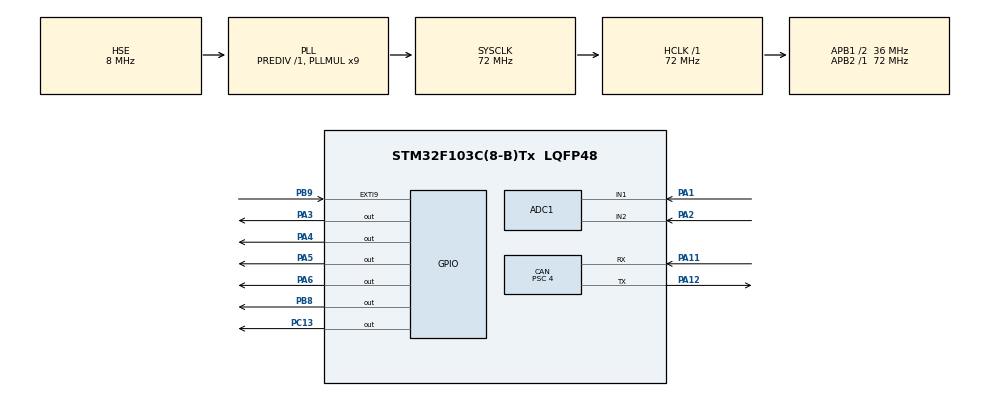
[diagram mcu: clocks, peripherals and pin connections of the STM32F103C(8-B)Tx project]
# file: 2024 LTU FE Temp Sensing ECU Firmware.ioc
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ADC1.Channel-1\#ChannelRegularConversion=ADC_CHANNEL_1
ADC1.Channel-2\#ChannelRegularConversion=ADC_CHANNEL_2
ADC1.NbrOfConversion=2
ADC1.NbrOfConversionFlag=1
ADC1.Rank-1\#ChannelRegularConversion=1
ADC1.Rank-2\#ChannelRegularConversion=2
ADC1.SamplingTime-1\#ChannelRegularConversion=ADC_SAMPLETIME_55CYCLES_5
ADC1.SamplingTime-2\#ChannelRegularConversion=ADC_SAMPLETIME_55CYCLES_5
ADC1.master=1
CAN.BS1=CAN_BS1_15TQ
CAN.BS2=CAN_BS2_2TQ
CAN.CalculateBaudRate=500000
CAN.CalculateTimeBit=2000
CAN.CalculateTimeQuantum=111.11111111111111
CAN.Prescaler=4
IWDG.Reload=400
Mcu.Family=STM32F1
Mcu.Name=STM32F103C(8-B)Tx
Mcu.Package=LQFP48
NVIC.CAN1_RX1_IRQn=true\:0\:0\:false\:false\:true\:true\:true\:true
NVIC.EXTI9_5_IRQn=true\:2\:0\:true\:false\:true\:true\:true\:true
NVIC.PriorityGroup=NVIC_PRIORITYGROUP_4
NVIC.USB_LP_CAN1_RX0_IRQn=true\:1\:0\:true\:false\:true\:true\:true\:true
PA1.Signal=ADCx_IN1
PA11.Mode=CAN_Activate
PA11.Signal=CAN_RX
PA12.Mode=CAN_Activate
PA12.Signal=CAN_TX
PA13.Mode=Serial_Wire
PA13.Signal=SYS_JTMS-SWDIO
PA14.Mode=Serial_Wire
PA14.Signal=SYS_JTCK-SWCLK
PA2.Signal=ADCx_IN2
PA3.Signal=GPIO_Output
PA4.Signal=GPIO_Output
PA5.Signal=GPIO_Output
PA6.Signal=GPIO_Output
PB8.Signal=GPIO_Output
PB9.Signal=GPXTI9
PC13-TAMPER-RTC.Signal=GPIO_Output
PC14-OSC32_IN.Mode=LSE-External-Clock-Source
PC14-OSC32_IN.Signal=RCC_OSC32_IN
PC15-OSC32_OUT.Mode=LSE-External-Clock-Source
PC15-OSC32_OUT.Signal=RCC_OSC32_OUT
PD0-OSC_IN.Mode=HSE-External-Oscillator
PD0-OSC_IN.Signal=RCC_OSC_IN
PD1-OSC_OUT.Mode=HSE-External-Oscillator
PD1-OSC_OUT.Signal=RCC_OSC_OUT
ProjectManager.HeapSize=0x200
ProjectManager.StackSize=0x400
ProjectManager.TargetToolchain=STM32CubeIDE
RCC.ADCPresc=RCC_ADCPCLK2_DIV6
RCC.AHBFreq_Value=72000000
RCC.APB1CLKDivider=RCC_HCLK_DIV2
RCC.APB1Freq_Value=36000000
RCC.APB1TimFreq_Value=72000000
RCC.APB2Freq_Value=72000000
RCC.APB2TimFreq_Value=72000000
RCC.HCLKFreq_Value=72000000
RCC.PLLMUL=RCC_PLL_MUL9
RCC.PLLSourceVirtual=RCC_PLLSOURCE_HSE
RCC.SYSCLKFreq_VALUE=72000000
RCC.SYSCLKSource=RCC_SYSCLKSOURCE_PLLCLK
RCC.USBFreq_Value=72000000
SH.ADCx_IN1.0=ADC1_IN1,IN1
SH.ADCx_IN2.0=ADC1_IN2,IN2
VP_IWDG_VS_IWDG.Mode=IWDG_Activate
board=custom

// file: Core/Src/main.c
/* USER CODE BEGIN Header */
/**
  ******************************************************************************
  * @file           : main.c
  * @brief          : Main program body
  ******************************************************************************
  * @attention
  *
  * Copyright (c) 2024 STMicroelectronics.
  * All rights reserved.
  *
  * This software is licensed under terms that can be found in the LICENSE file
  * in the root directory of this software component.
  * If no LICENSE file comes with this software, it is provided AS-IS.
  *
  ******************************************************************************
  */
/* USER CODE END Header */
#include "main.h"

/* USER CODE BEGIN Includes */

#include "math.h"
#include "temp.h"
#include "CAN.h"

/* USER CODE END Includes */

/* USER CODE BEGIN PTD */

typedef enum
{
	DISCHARGE_STATE = 1,
	CHARGING_STATE = 2

} ECU_StateType;

// Define boolean variable
typedef enum
{
	true = 1,
	false = 0

} bool;

ECU_StateType ecuState;

/* USER CODE END PTD */

/* USER CODE BEGIN PD */
#define SEGMENT_ID (0x03U)

#define DISCHARGE_TEMP_MAX_LIMIT 60
#define DISCHARGE_TEMP_MIN_LIMIT -20
#define CHARGE_TEMP_MAX_LIMIT 45
#define CHARGE_TEMP_MIN_LIMIT 0
#define ERROR_THRESHOLD 120

#define OPEN_CIRCUIT_THRESHOLD -4000
#define SHORT_TO_GROUND_THRESHOLD 14000

#define CELL_COUNT 24

#define SYNC_TIME_SHIFT_ECU1 25
#define SYNC_TIME_SHIFT_ECU2 50
#define SYNC_TIME_SHIFT_ECU3 75
#define SYNC_TIME_SHIFT_ECU4 100
#define SYNC_TIME_SHIFT_ECU5 125

/* USER CODE END PD */

ADC_HandleTypeDef hadc1;

CAN_HandleTypeDef hcan;

IWDG_HandleTypeDef hiwdg;

/* USER CODE BEGIN PV */

// Temp Sense RCU Fault
const uint16_t FAULT_IN_PIN = GPIO_PIN_9;
const uint16_t FAULT_OUT_PIN = GPIO_PIN_8;
GPIO_TypeDef* FAULT_PIN_PORT = GPIOB;

// Watchdog
const uint16_t WATCHDOG_LED_PIN = GPIO_PIN_13;
GPIO_TypeDef* WATCHDOG_LED_PIN_PORT = GPIOC;

// Temperature Collection and Processing
int highestTemp = DISCHARGE_TEMP_MIN_LIMIT, lowestTemp = DISCHARGE_TEMP_MAX_LIMIT, tempArray[24] = { 0 };
int counterCH1 = 0, counterCH2 = 12, faultCounter = 0;
int cellTempSum = 0, averageSegmentTemp;
unsigned int highestTempCellCount = 0;

// CAN RX headers
CAN_RxHeaderTypeDef rxHeaderFIFO0;
uint8_t dataFIFO0[8] = { (0x00U) };
TS_ECU_SYNC_RX1_t diagnosticSync_t;
TS_ECU_SYNC_RX2_t temperatureSync_t;
TS_ECU_ChargingStateTrigger_t stateTrigger_t;

// CAN TX header
TS_ECU1_TX1_t tx1_t;
volatile bool msgPendingFlag = false;

// Timing Variables
unsigned int currentChargingTriggerTime = 0, syncOneTime = 0, syncTwoTime = 0;

// Charging State
bool chargingTriggerFlag = false;

// Sync
bool syncOneFlag = false;
bool syncTwoFlag = false;

/* USER CODE END PV */

void SystemClock_Config(void);
static void MX_GPIO_Init(void);
static void MX_ADC1_Init(void);
static void MX_CAN_Init(void);
static void MX_IWDG_Init(void);
/* USER CODE BEGIN PFP */

// ADC to Temperature conversion
static int getTempCH1(ADC_HandleTypeDef* hadc);
static int getTempCH2(ADC_HandleTypeDef* hadc);

// CAN ISR
void HAL_CAN_RxFifo0MsgPendingCallback(CAN_HandleTypeDef *hcan)
{
  /* Prevent unused argument(s) compilation warning */
  //UNUSED(hcan);

	if (hcan->Instance == CAN1)
	{
		HAL_CAN_GetRxMessage(hcan, CAN_RX_FIFO0, &rxHeaderFIFO0, dataFIFO0);

		msgPendingFlag = true;
	}

  /* NOTE : This function Should not be modified, when the callback is needed,
            the HAL_CAN_RxFifo0MsgPendingCallback could be implemented in the
            user file
   */
}

// Fault ISR
void HAL_GPIO_EXTI_Callback(uint16_t GPIO_Pin)
{
  /* Prevent unused argument(s) compilation warning */
  //UNUSED(GPIO_Pin);

	if (GPIO_Pin == FAULT_IN_PIN)
	{
		tx1_t.TS_ECU_FaultInState = HAL_GPIO_ReadPin(FAULT_PIN_PORT, FAULT_IN_PIN);

		HAL_GPIO_WritePin(FAULT_PIN_PORT, FAULT_OUT_PIN, GPIO_PIN_RESET);
	}

  /* NOTE: This function Should not be modified, when the callback is needed,
           the HAL_GPIO_EXTI_Callback could be implemented in the user file
   */
}

/* USER CODE END PFP */

int main(void)
{

  /* MCU Configuration--------------------------------------------------------*/

  /* Reset of all peripherals, Initializes the Flash interface and the Systick. */
  HAL_Init();

  /* Configure the system clock */
  SystemClock_Config();

  /* Initialize all configured peripherals */
  MX_GPIO_Init();
  MX_ADC1_Init();
  MX_CAN_Init();
  MX_IWDG_Init();
  /* USER CODE BEGIN 2 */

  // Initial State
  ecuState = DISCHARGE_STATE;

  HAL_GPIO_WritePin(FAULT_PIN_PORT, FAULT_OUT_PIN, GPIO_PIN_SET);

  tx1_t.TS_ECU_FaultOutState = GPIO_PIN_SET;

  tx1_t.TS_ECU_FaultInState = HAL_GPIO_ReadPin(FAULT_PIN_PORT, FAULT_IN_PIN);

  // Initialize CAN
  HAL_CAN_Start(&hcan);

  HAL_CAN_ActivateNotification(&hcan, CAN_IT_RX_FIFO0_MSG_PENDING);

  // CAN Filter Configuration
  TS_ECU_ChargingStateTrigFilterConfig();

  TS_ECU_SYNC_RX1_FilterConfig();

  TS_ECU_SYNC_RX2_FilterConfig();

  tx1_t.TS_ECU_OpenCircuitFault = false;
  tx1_t.TS_ECU_TempThresholdFault = false;

  HAL_Delay(100);

  HAL_GPIO_WritePin(WATCHDOG_LED_PIN_PORT, WATCHDOG_LED_PIN, GPIO_PIN_RESET);

  // Enable Watchdog
  HAL_IWDG_Init(&hiwdg);

  /* USER CODE END 2 */

  /* Infinite loop */
  /* USER CODE BEGIN WHILE */
  while (1)
  {
	  // CAN Message Processing
	  if (msgPendingFlag == true)
	  {
		  if (rxHeaderFIFO0.StdId == TS_ECU_SYNC_RX1_CANID && (((dataFIFO0[0] & (0xFFU)) == (0x00U)) || ((dataFIFO0[0] & (0xFFU)) == SEGMENT_ID)))
		  {
			  syncOneFlag = true;

			  syncOneTime = HAL_GetTick();
		  }
		  else if (rxHeaderFIFO0.StdId == TS_ECU_SYNC_RX2_CANID && (((dataFIFO0[0] & (0xFFU)) == (0x00U)) || ((dataFIFO0[0] & (0xFFU)) == SEGMENT_ID)))
		  {
			  syncTwoFlag = true;

			  syncTwoTime = HAL_GetTick();
		  }
		  else if (rxHeaderFIFO0.StdId == TS_ECU_ChargingStateTrigger_CANID)
		  {
			  Unpack_TS_ECU_ChargingStateTrigger_Temp(&stateTrigger_t, dataFIFO0, TS_ECU_ChargingStateTrigger_DLC);

			  if (stateTrigger_t.Orion_2_ChargePowerState == (0x01U) && stateTrigger_t.Orion_2_ChargeSafetyState == (0x01U))
			  {
				  ecuState = CHARGING_STATE;

				  chargingTriggerFlag = true;

				  currentChargingTriggerTime = HAL_GetTick();
			  }
		  }

		  msgPendingFlag = false;
	  }

	  // Process Temperatures
	  for (int s3 = 0; s3 <= 1; s3++)
	  {
		  for (int s2 = 0; s2 <= 1; s2++)
		  {
			  for (int s1 = 0; s1 <= 1; s1++)
			  {
				  for (int s0 = 0; s0 <= 1; s0++)
				  {
					  HAL_GPIO_WritePin(GPIOA, GPIO_PIN_5, s3);
					  HAL_GPIO_WritePin(GPIOA, GPIO_PIN_6, s2);
					  HAL_GPIO_WritePin(GPIOA, GPIO_PIN_3, s1);
					  HAL_GPIO_WritePin(GPIOA, GPIO_PIN_4, s0);

					  if ((s3 == 1 && s2 == 1 && s1 == 1) || (s0 == 1 && s2 == 1 && s3 == 1) || (s3 == 1 && s2 == 1 && s1 == 0 && s0 == 0))
					  {
						  continue;
					  }

					  /*******************************  Cell 1-12 *******************************/

					  tempArray[counterCH1] = getTempCH1(&hadc1);

					  if (tempArray[counterCH1] < OPEN_CIRCUIT_THRESHOLD)
					  {
						  HAL_GPIO_WritePin(FAULT_PIN_PORT, FAULT_OUT_PIN, GPIO_PIN_RESET);

						  tempArray[counterCH1] = 200;

						  tx1_t.TS_ECU_OpenCircuitFault = true;

						  tx1_t.TS_ECU_FaultOutState = GPIO_PIN_RESET;
					  }

					  if (tempArray[counterCH1] > SHORT_TO_GROUND_THRESHOLD)
					  {
						  HAL_GPIO_WritePin(FAULT_PIN_PORT, FAULT_OUT_PIN, GPIO_PIN_RESET);

						  tempArray[counterCH1] = 200;

						  tx1_t.FAN_ECU_ShortToGroundFault = true;

						  tx1_t.TS_ECU_FaultOutState = GPIO_PIN_RESET;
					  }

					  if (tempArray[counterCH1] == 200)
					  {
						  cellTempSum += 0;
					  }
					  else
					  {
						  cellTempSum += tempArray[counterCH1];
					  }

					  if (tempArray[counterCH1] > highestTemp && tempArray[counterCH1] < ERROR_THRESHOLD)
					  {
						  highestTemp = tempArray[counterCH1];

						  highestTempCellCount = 0;
					  }

					  if (tempArray[counterCH1] < lowestTemp)
					  {
						  lowestTemp = tempArray[counterCH1];
					  }

					  if (tempArray[counterCH1] == highestTemp)
					  {
						  highestTempCellCount++;
					  }

					  /*******************************  Cell 13-24 *******************************/

					  tempArray[counterCH2] = getTempCH2(&hadc1);

					  if (tempArray[counterCH2] < OPEN_CIRCUIT_THRESHOLD)
					  {
						  HAL_GPIO_WritePin(FAULT_PIN_PORT, FAULT_OUT_PIN, GPIO_PIN_RESET);

						  tempArray[counterCH2] = 200;

						  tx1_t.TS_ECU_OpenCircuitFault = true;

						  tx1_t.TS_ECU_FaultOutState = GPIO_PIN_RESET;
					  }

					  if (tempArray[counterCH2] > SHORT_TO_GROUND_THRESHOLD)
					  {
						  HAL_GPIO_WritePin(FAULT_PIN_PORT, FAULT_OUT_PIN, GPIO_PIN_RESET);

						  tempArray[counterCH2] = 200;

						  tx1_t.FAN_ECU_ShortToGroundFault = true;

						  tx1_t.TS_ECU_FaultOutState = GPIO_PIN_RESET;
					  }

					  if (tempArray[counterCH2] == 200)
					  {
						  cellTempSum += 0;
					  }
					  else
					  {
						  cellTempSum += tempArray[counterCH2];
					  }

					  if (tempArray[counterCH2] > highestTemp && tempArray[counterCH2] < ERROR_THRESHOLD)
					  {
						  highestTemp = tempArray[counterCH2];

						  highestTempCellCount = 0;
					  }

					  if (tempArray[counterCH2] < lowestTemp)
					  {
						  lowestTemp = tempArray[counterCH2];
					  }

					  if (tempArray[counterCH2] == highestTemp)
					  {
						  highestTempCellCount++;
					  }

					  counterCH1++;

					  counterCH2++;
				  }
			  }
		  }
	  }

	  averageSegmentTemp = (cellTempSum / CELL_COUNT);

	  // Charging State Watchdog
	  if (HAL_GetTick() - currentChargingTriggerTime > 5000)
	  {
		  ecuState = DISCHARGE_STATE;

		  chargingTriggerFlag = false;
	  }

	  // Temperature Threshold Check
	  switch (ecuState)
	  {
	  case DISCHARGE_STATE:

		  if ((highestTemp > DISCHARGE_TEMP_MAX_LIMIT && highestTemp < ERROR_THRESHOLD)  || lowestTemp < DISCHARGE_TEMP_MIN_LIMIT)
		  {
			  if (faultCounter == 4)
			  {
				  HAL_GPIO_WritePin(FAULT_PIN_PORT, FAULT_OUT_PIN, GPIO_PIN_RESET);

				  tx1_t.TS_ECU_TempThresholdFault = true;

				  tx1_t.TS_ECU_FaultOutState = GPIO_PIN_RESET;

				  faultCounter = 0;
			  }
			  else
			  {
				  faultCounter++;
			  }
		  }

		  break;
	  case CHARGING_STATE:

		  if ((highestTemp > CHARGE_TEMP_MAX_LIMIT && highestTemp < ERROR_THRESHOLD) || lowestTemp < CHARGE_TEMP_MIN_LIMIT)
		  {
			  if (faultCounter == 4)
			  {
				  HAL_GPIO_WritePin(FAULT_PIN_PORT, FAULT_OUT_PIN, GPIO_PIN_RESET);

				  tx1_t.TS_ECU_TempThresholdFault = true;

				  tx1_t.TS_ECU_FaultOutState = GPIO_PIN_RESET;

				  faultCounter = 0;
			  }
			  else
			  {
				  faultCounter++;
			  }
		  }

		  break;
	  }

	  // Sync One Response
	  if (syncOneFlag == true)
	  {
		  tx1_t.TS_ECU_AverageSegmentTemp = TS_ECU1_TX1_TS_ECU_AverageSegmentTemp_toS(averageSegmentTemp);
		  tx1_t.TS_ECU_MaxSegmentTemperature = TS_ECU1_TX1_TS_ECU_MaxSegmentTemperature_toS(highestTemp);
		  tx1_t.TS_ECU_MinSegmentTemperature = TS_ECU1_TX1_TS_ECU_MinSegmentTemperature_toS(lowestTemp);
		  tx1_t.TS_ECU_MaxTemperatureCellCount = highestTempCellCount;
		  tx1_t.TS_ECU_FaultInState = HAL_GPIO_ReadPin(FAULT_PIN_PORT, FAULT_IN_PIN);

		  if (ecuState == DISCHARGE_STATE)
		  {
			  tx1_t.TS_ECU_CurrentState = 0;
		  }
		  else
		  {
			  tx1_t.TS_ECU_CurrentState = 1;
		  }

		  if (SEGMENT_ID == (0x01U))
		  {
			  if (HAL_GetTick() - syncOneTime > SYNC_TIME_SHIFT_ECU1)
			  {
				  TS_ECU1_SendDiagnosticData(&tx1_t);

				  syncOneFlag = false;
			  }
		  }
		  else if (SEGMENT_ID == (0x02U))
		  {

			  if (HAL_GetTick() - syncOneTime > SYNC_TIME_SHIFT_ECU2)
			  {
				  TS_ECU2_SendDiagnosticData(&tx1_t);

				  syncOneFlag = false;
			  }
		  }
		  else if (SEGMENT_ID == (0x03U))
		  {

			  if (HAL_GetTick() - syncOneTime > SYNC_TIME_SHIFT_ECU3)
			  {
				  TS_ECU3_SendDiagnosticData(&tx1_t);

				  syncOneFlag = false;
			  }
		  }
		  else if (SEGMENT_ID == (0x04U))
		  {

			  if (HAL_GetTick() - syncOneTime > SYNC_TIME_SHIFT_ECU4)
			  {
				  TS_ECU4_SendDiagnosticData(&tx1_t);

				  syncOneFlag = false;
			  }
		  }
		  else
		  {
			  if (HAL_GetTick() - syncOneTime > SYNC_TIME_SHIFT_ECU5)
			  {
				  TS_ECU5_SendDiagnosticData(&tx1_t);

				  syncOneFlag = false;
			  }
		  }
	  }

	  // Sync Two Response
	  if (syncTwoFlag == true)
	  {
		  if (SEGMENT_ID == (0x01U))
		  {
			  if (HAL_GetTick() - syncTwoTime > SYNC_TIME_SHIFT_ECU1)
			  {
				  TS_ECU1_SendTemperatures(tempArray);

				  syncTwoFlag = false;
			  }
		  }
		  else if (SEGMENT_ID == (0x02U))
		  {
			  if (HAL_GetTick() - syncTwoTime > SYNC_TIME_SHIFT_ECU2)
			  {
				  TS_ECU2_SendTemperatures(tempArray);

				  syncTwoFlag = false;
			  }
		  }
		  else if (SEGMENT_ID == (0x03U))
		  {
			  if (HAL_GetTick() - syncTwoTime > SYNC_TIME_SHIFT_ECU3)
			  {
				  TS_ECU3_SendTemperatures(tempArray);

				  syncTwoFlag = false;
			  }
		  }
		  else if (SEGMENT_ID == (0x04U))
		  {
			  if (HAL_GetTick() - syncTwoTime > SYNC_TIME_SHIFT_ECU4)
			  {
				  TS_ECU4_SendTemperatures(tempArray);

				  syncTwoFlag = false;
			  }
		  }
		  else
		  {
			  if (HAL_GetTick() - syncTwoTime > SYNC_TIME_SHIFT_ECU5)
			  {
				  TS_ECU5_SendTemperatures(tempArray);

				  syncTwoFlag = false;
			  }
		  }
	  }

	  // Reset Counters
	  highestTemp = DISCHARGE_TEMP_MIN_LIMIT;
	  lowestTemp = DISCHARGE_TEMP_MAX_LIMIT;
	  highestTempCellCount = 0;
	  cellTempSum = 0;
	  counterCH1 = 0;
	  counterCH2 = 12;

	  // Reset Watchdog Counter
	  HAL_IWDG_Refresh(&hiwdg);

    /* USER CODE END WHILE */

  }
}

void SystemClock_Config(void)
{
  RCC_OscInitTypeDef RCC_OscInitStruct = {0};
  RCC_ClkInitTypeDef RCC_ClkInitStruct = {0};
  RCC_PeriphCLKInitTypeDef PeriphClkInit = {0};

  /** Initializes the RCC Oscillators according to the specified parameters
  * in the RCC_OscInitTypeDef structure.
  */
  RCC_OscInitStruct.OscillatorType = RCC_OSCILLATORTYPE_LSI|RCC_OSCILLATORTYPE_HSE;
  RCC_OscInitStruct.HSEState = RCC_HSE_ON;
  RCC_OscInitStruct.HSEPredivValue = RCC_HSE_PREDIV_DIV1;
  RCC_OscInitStruct.HSIState = RCC_HSI_ON;
  RCC_OscInitStruct.LSIState = RCC_LSI_ON;
  RCC_OscInitStruct.PLL.PLLState = RCC_PLL_ON;
  RCC_OscInitStruct.PLL.PLLSource = RCC_PLLSOURCE_HSE;
  RCC_OscInitStruct.PLL.PLLMUL = RCC_PLL_MUL9;
  if (HAL_RCC_OscConfig(&RCC_OscInitStruct) != HAL_OK)
  {
    Error_Handler();
  }

  /** Initializes the CPU, AHB and APB buses clocks
  */
  RCC_ClkInitStruct.ClockType = RCC_CLOCKTYPE_HCLK|RCC_CLOCKTYPE_SYSCLK
                              |RCC_CLOCKTYPE_PCLK1|RCC_CLOCKTYPE_PCLK2;
  RCC_ClkInitStruct.SYSCLKSource = RCC_SYSCLKSOURCE_PLLCLK;
  RCC_ClkInitStruct.AHBCLKDivider = RCC_SYSCLK_DIV1;
  RCC_ClkInitStruct.APB1CLKDivider = RCC_HCLK_DIV2;
  RCC_ClkInitStruct.APB2CLKDivider = RCC_HCLK_DIV1;

  if (HAL_RCC_ClockConfig(&RCC_ClkInitStruct, FLASH_LATENCY_2) != HAL_OK)
  {
    Error_Handler();
  }
  PeriphClkInit.PeriphClockSelection = RCC_PERIPHCLK_ADC;
  PeriphClkInit.AdcClockSelection = RCC_ADCPCLK2_DIV6;
  if (HAL_RCCEx_PeriphCLKConfig(&PeriphClkInit) != HAL_OK)
  {
    Error_Handler();
  }
}

static void MX_ADC1_Init(void)
{

  ADC_ChannelConfTypeDef sConfig = {0};

  /** Common config
  */
  hadc1.Instance = ADC1;
  hadc1.Init.ScanConvMode = ADC_SCAN_ENABLE;
  hadc1.Init.ContinuousConvMode = DISABLE;
  hadc1.Init.DiscontinuousConvMode = DISABLE;
  hadc1.Init.ExternalTrigConv = ADC_SOFTWARE_START;
  hadc1.Init.DataAlign = ADC_DATAALIGN_RIGHT;
  hadc1.Init.NbrOfConversion = 1;
  if (HAL_ADC_Init(&hadc1) != HAL_OK)
  {
    Error_Handler();
  }

  /** Configure Regular Channel
  */
  sConfig.Channel = ADC_CHANNEL_1;
  sConfig.Rank = ADC_REGULAR_RANK_1;
  sConfig.SamplingTime = ADC_SAMPLETIME_55CYCLES_5;
  if (HAL_ADC_ConfigChannel(&hadc1, &sConfig) != HAL_OK)
  {
    Error_Handler();
  }

  /** Configure Regular Channel
  */
  sConfig.Channel = ADC_CHANNEL_2;
  sConfig.Rank = ADC_REGULAR_RANK_2;
  if (HAL_ADC_ConfigChannel(&hadc1, &sConfig) != HAL_OK)
  {
    Error_Handler();
  }

}

static void MX_CAN_Init(void)
{

  hcan.Instance = CAN1;
  hcan.Init.Prescaler = 4;
  hcan.Init.Mode = CAN_MODE_NORMAL;
  hcan.Init.SyncJumpWidth = CAN_SJW_1TQ;
  hcan.Init.TimeSeg1 = CAN_BS1_15TQ;
  hcan.Init.TimeSeg2 = CAN_BS2_2TQ;
  hcan.Init.TimeTriggeredMode = DISABLE;
  hcan.Init.AutoBusOff = DISABLE;
  hcan.Init.AutoWakeUp = DISABLE;
  hcan.Init.AutoRetransmission = DISABLE;
  hcan.Init.ReceiveFifoLocked = DISABLE;
  hcan.Init.TransmitFifoPriority = DISABLE;
  if (HAL_CAN_Init(&hcan) != HAL_OK)
  {
    Error_Handler();
  }

}

static void MX_IWDG_Init(void)
{

  hiwdg.Instance = IWDG;
  hiwdg.Init.Prescaler = IWDG_PRESCALER_4;
  hiwdg.Init.Reload = 300;
  if (HAL_IWDG_Init(&hiwdg) != HAL_OK)
  {
    Error_Handler();
  }

}

static void MX_GPIO_Init(void)
{
  GPIO_InitTypeDef GPIO_InitStruct = {0};

  /* GPIO Ports Clock Enable */
  __HAL_RCC_GPIOC_CLK_ENABLE();
  __HAL_RCC_GPIOD_CLK_ENABLE();
  __HAL_RCC_GPIOA_CLK_ENABLE();
  __HAL_RCC_GPIOB_CLK_ENABLE();

  /*Configure GPIO pin Output Level */
  HAL_GPIO_WritePin(GPIOC, GPIO_PIN_13, GPIO_PIN_SET);

  /*Configure GPIO pin Output Level */
  HAL_GPIO_WritePin(GPIOA, GPIO_PIN_3|GPIO_PIN_4|GPIO_PIN_5|GPIO_PIN_6, GPIO_PIN_RESET);

  /*Configure GPIO pin Output Level */
  HAL_GPIO_WritePin(GPIOB, GPIO_PIN_8, GPIO_PIN_RESET);

  /*Configure GPIO pin : PC13 */
  GPIO_InitStruct.Pin = GPIO_PIN_13;
  GPIO_InitStruct.Mode = GPIO_MODE_OUTPUT_PP;
  GPIO_InitStruct.Pull = GPIO_NOPULL;
  GPIO_InitStruct.Speed = GPIO_SPEED_FREQ_LOW;
  HAL_GPIO_Init(GPIOC, &GPIO_InitStruct);

  /*Configure GPIO pins : PA3 PA4 PA5 PA6 */
  GPIO_InitStruct.Pin = GPIO_PIN_3|GPIO_PIN_4|GPIO_PIN_5|GPIO_PIN_6;
  GPIO_InitStruct.Mode = GPIO_MODE_OUTPUT_PP;
  GPIO_InitStruct.Pull = GPIO_NOPULL;
  GPIO_InitStruct.Speed = GPIO_SPEED_FREQ_LOW;
  HAL_GPIO_Init(GPIOA, &GPIO_InitStruct);

  /*Configure GPIO pin : PB8 */
  GPIO_InitStruct.Pin = GPIO_PIN_8;
  GPIO_InitStruct.Mode = GPIO_MODE_OUTPUT_PP;
  GPIO_InitStruct.Pull = GPIO_NOPULL;
  GPIO_InitStruct.Speed = GPIO_SPEED_FREQ_LOW;
  HAL_GPIO_Init(GPIOB, &GPIO_InitStruct);

  /*Configure GPIO pin : PB9 */
  GPIO_InitStruct.Pin = GPIO_PIN_9;
  GPIO_InitStruct.Mode = GPIO_MODE_IT_RISING;
  GPIO_InitStruct.Pull = GPIO_NOPULL;
  HAL_GPIO_Init(GPIOB, &GPIO_InitStruct);

  /* EXTI interrupt init*/
  HAL_NVIC_SetPriority(EXTI9_5_IRQn, 2, 0);
  HAL_NVIC_EnableIRQ(EXTI9_5_IRQn);

}

/* USER CODE BEGIN 4 */

static int getTempCH1(ADC_HandleTypeDef* hadc)
{
	uint32_t adcVal = 0;
	float voltage = 0.0;
	int temp = 0;
	ADC_ChannelConfTypeDef sConfig = {0};

	sConfig.Channel = ADC_CHANNEL_1;
	sConfig.Rank = ADC_REGULAR_RANK_1;
	sConfig.SamplingTime = ADC_SAMPLETIME_55CYCLES_5;

	if (HAL_ADC_ConfigChannel(hadc, &sConfig) != HAL_OK)
	{
		Error_Handler();
	}

	HAL_ADC_Start(hadc);

	HAL_ADC_PollForConversion(hadc, 1);

	adcVal = HAL_ADC_GetValue(hadc);

	HAL_ADC_Stop(hadc);

	adcVal += 105;

	voltage = ((adcVal * 3.3) / 4096);

	temp = (int)(18212.8 - (47967.26*voltage) + (50732.41*pow(voltage, 2)) - (26799.56*pow(voltage, 3)) + (7056.825*pow(voltage, 4))
		      - (740.8519*pow(voltage, 5)));

	return temp;
}

static int getTempCH2(ADC_HandleTypeDef* hadc)
{
	uint32_t adcVal = 0;
	float voltage = 0.0;
	int temp = 0;
	ADC_ChannelConfTypeDef sConfig = {0};

	sConfig.Channel = ADC_CHANNEL_2;
	sConfig.Rank = ADC_REGULAR_RANK_1;
	sConfig.SamplingTime = ADC_SAMPLETIME_55CYCLES_5;

	if (HAL_ADC_ConfigChannel(hadc, &sConfig) != HAL_OK)
	{
		Error_Handler();
	}

	HAL_ADC_Start(hadc);

	HAL_ADC_PollForConversion(hadc, 1);

	adcVal = HAL_ADC_GetValue(hadc);

	HAL_ADC_Stop(hadc);

	adcVal += 105;

	voltage = ((adcVal * 3.3) / 4096);

	temp = (int)(18212.8 - (47967.26*voltage) + (50732.41*pow(voltage, 2)) - (26799.56*pow(voltage, 3)) + (7056.825*pow(voltage, 4))
	        - (740.8519*pow(voltage, 5)));

	return temp;
}

/* USER CODE END 4 */

void Error_Handler(void)
{
  __disable_irq();
  while (1)
  {
  }
}
